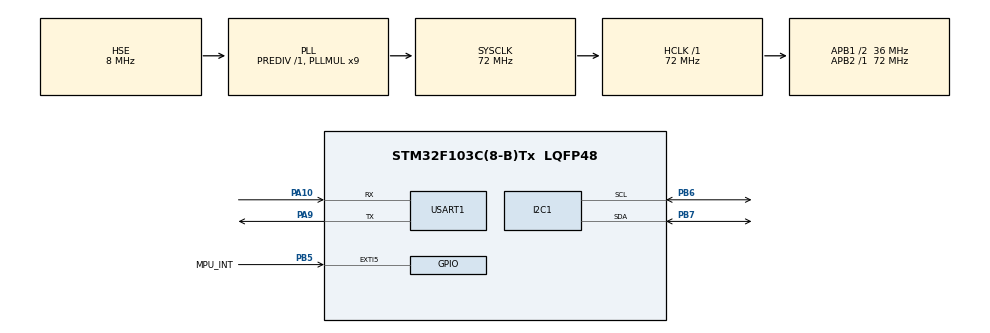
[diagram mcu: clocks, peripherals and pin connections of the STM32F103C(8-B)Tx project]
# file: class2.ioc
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Mcu.Family=STM32F1
Mcu.Name=STM32F103C(8-B)Tx
Mcu.Package=LQFP48
NVIC.EXTI9_5_IRQn=true\:0\:0\:false\:false\:true\:true\:true\:true
NVIC.PriorityGroup=NVIC_PRIORITYGROUP_4
PA10.Mode=Asynchronous
PA10.Signal=USART1_RX
PA13.Mode=Serial_Wire
PA13.Signal=SYS_JTMS-SWDIO
PA14.Mode=Serial_Wire
PA14.Signal=SYS_JTCK-SWCLK
PA9.Mode=Asynchronous
PA9.Signal=USART1_TX
PB5.GPIO_Label=MPU_INT
PB5.GPIO_ModeDefaultEXTI=GPIO_MODE_IT_RISING
PB5.GPIO_PuPd=GPIO_PULLDOWN
PB5.Signal=GPXTI5
PB6.Mode=I2C
PB6.Signal=I2C1_SCL
PB7.Mode=I2C
PB7.Signal=I2C1_SDA
PC14-OSC32_IN.Mode=LSE-External-Oscillator
PC14-OSC32_IN.Signal=RCC_OSC32_IN
PC15-OSC32_OUT.Mode=LSE-External-Oscillator
PC15-OSC32_OUT.Signal=RCC_OSC32_OUT
PD0-OSC_IN.Mode=HSE-External-Oscillator
PD0-OSC_IN.Signal=RCC_OSC_IN
PD1-OSC_OUT.Mode=HSE-External-Oscillator
PD1-OSC_OUT.Signal=RCC_OSC_OUT
ProjectManager.HeapSize=0x200
ProjectManager.StackSize=0x400
ProjectManager.TargetToolchain=MDK-ARM V5.32
RCC.AHBFreq_Value=72000000
RCC.APB1CLKDivider=RCC_HCLK_DIV2
RCC.APB1Freq_Value=36000000
RCC.APB1TimFreq_Value=72000000
RCC.APB2Freq_Value=72000000
RCC.APB2TimFreq_Value=72000000
RCC.HCLKFreq_Value=72000000
RCC.PLLMUL=RCC_PLL_MUL9
RCC.PLLSourceVirtual=RCC_PLLSOURCE_HSE
RCC.SYSCLKFreq_VALUE=72000000
RCC.SYSCLKSource=RCC_SYSCLKSOURCE_PLLCLK
RCC.USBFreq_Value=72000000
USART1.VirtualMode=VM_ASYNC
board=custom

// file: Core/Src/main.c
/* USER CODE BEGIN Header */
/**
  ******************************************************************************
  * @file           : main.c
  * @brief          : Main program body
  ******************************************************************************
  * @attention
  *
  * Copyright (c) 2026 STMicroelectronics.
  * All rights reserved.
  *
  * This software is licensed under terms that can be found in the LICENSE file
  * in the root directory of this software component.
  * If no LICENSE file comes with this software, it is provided AS-IS.
  *
  ******************************************************************************
  */
/* USER CODE END Header */
#include "main.h"
#include "i2c.h"
#include "usart.h"
#include "gpio.h"

/* USER CODE BEGIN Includes */
#include "MyMPU6050.h"
#include <stdio.h>
#include <math.h>
uint16_t print_cnt = 0;

int16_t acc_raw[3], gyro_raw[3], temp_raw;
float   acc[3], gyro[3], temp;
int16_t bias[3];
#define RAD_TO_DEG      57.2957795f     /* 180/π，弧度转角度 */
//下面是计算互补滤波的变量
#define COMP_ALPHA      0.98f       /* 互补滤波系数 */

static float    s_roll      = 0.0f;     /* 融合后的 roll */
static float    s_pitch     = 0.0f;     /* 融合后的 pitch */
static float    s_yaw       = 0.0f;     /* 融合后的 yaw */
static uint32_t s_last_tick = 0;        /* 上次积分时刻 */

static volatile uint32_t s_int_count = 0;

static volatile uint8_t  s_data_ready = 0;
static volatile uint32_t s_prev_tick  = 0;
static volatile uint32_t s_dt_min     = 9999;
static volatile uint32_t s_dt_max     = 0;
static volatile uint32_t s_dt_sum     = 0;
static volatile uint32_t s_dt_cnt     = 0;

int fputc(int ch, FILE *f)
{
    HAL_UART_Transmit(&huart1, (uint8_t *)&ch, 1, HAL_MAX_DELAY);
    return ch;
}
/* USER CODE END Includes */

void SystemClock_Config(void);

/* USER CODE BEGIN 0 */
//为了能输出数据给VOFA+,必须把浮点数转化为保留小数点后一位的数据
static void PrintFloat1(float v)
{
    int32_t n;
    if (v >= 0.0f)
    {
        n = (int32_t)(v * 10.0f + 0.5f);
    }
    else
    {
        n = (int32_t)(v * 10.0f - 0.5f);
    }
    if (n < 0)
    {
        printf("-");
        n = -n;
    }
    printf("%ld.%ld", n / 10, n % 10);
}

//用加速度求roll，pitch,静态时准确;动态时会受干扰
static void CalcAngleFromAccel(float ax, float ay, float az,
                               float *roll, float *pitch)
{
    *roll  = atan2f(ay, az) * RAD_TO_DEG;
    *pitch = atan2f(-ax, sqrtf(ay * ay + az * az)) * RAD_TO_DEG;
}

//角度=α×(角度+陀螺×Δt)+(1−α)×加速度角度
static void Attitude_Update(float ax, float ay, float az,
                            float gx, float gy, float gz)
{
    uint32_t now;
    float    dt;
    float    roll_acc, pitch_acc;

    now = HAL_GetTick();

	if (s_last_tick == 0)//第一次不能使用
    {
        s_last_tick = now;
        return;
    }

    dt = (float)(now - s_last_tick) / 1000.0f;
    s_last_tick = now;

    if (dt > 0.5f) { dt = 0.5f; }
    if (dt <= 0.0f) { return; }
    CalcAngleFromAccel(ax, ay, az, &roll_acc, &pitch_acc);
    s_roll  += gx * dt;
    s_pitch += gy * dt;
    s_yaw   += gz * dt;
    s_roll  = COMP_ALPHA * s_roll  + (1.0f - COMP_ALPHA) * roll_acc;
    s_pitch = COMP_ALPHA * s_pitch + (1.0f - COMP_ALPHA) * pitch_acc;
}

/* USER CODE END 0 */

int main(void)
{

  /* MCU Configuration--------------------------------------------------------*/

  /* Reset of all peripherals, Initializes the Flash interface and the Systick. */
  HAL_Init();

  /* Configure the system clock */
  SystemClock_Config();

  /* Initialize all configured peripherals */
  MX_GPIO_Init();
  MX_I2C1_Init();
  MX_USART1_UART_Init();
  /* USER CODE BEGIN 2 */
	printf("\r\n\r\n");
	printf("========================================\r\n");
	printf("  MPU6050 Test - Exam 2\r\n");
	printf("========================================\r\n");

	printf("ID = 0x%02X\r\n", MyMPU6050_GetID());

	if (MyMPU6050_Init() != 0)
	{
    printf("Init FAILED!\r\n");
    while (1) { }
	}

	printf("Init OK\r\n");

	MyMPU6050_EnableDataReadyInt();

	printf("Keep the board STILL, calibrating...\r\n");
	HAL_Delay(1000);

	MyMPU6050_CalibrateGyro(1000);
	MyMPU6050_GetGyroBias(bias);
	printf("GYRO BIAS = %d, %d, %d\r\n", bias[0], bias[1], bias[2]);

	printf("Roll(deg),Pitch(deg),Yaw(deg)\n");

	uint32_t loop_cnt = 0;
	uint32_t t_print;
	uint16_t print_cnt = 0;
	t_print = HAL_GetTick();

  /* USER CODE END 2 */

  /* Infinite loop */
  /* USER CODE BEGIN WHILE */
  while (1)
  {
	  if (s_data_ready != 0)
    {
        s_data_ready = 0;

        MyMPU6050_ReadPhysical(acc, gyro, &temp);
        Attitude_Update(acc[0], acc[1], acc[2], gyro[0], gyro[1], gyro[2]);

        print_cnt++;
        if (print_cnt >= 2)
        {
            print_cnt = 0;

            PrintFloat1(s_roll);   printf(",");
            PrintFloat1(s_pitch);  printf(",");
            PrintFloat1(s_yaw);    printf("\n");
        }
    }
    /* USER CODE END WHILE */

	}
}

void SystemClock_Config(void)
{
  RCC_OscInitTypeDef RCC_OscInitStruct = {0};
  RCC_ClkInitTypeDef RCC_ClkInitStruct = {0};

  /** Initializes the RCC Oscillators according to the specified parameters
  * in the RCC_OscInitTypeDef structure.
  */
  RCC_OscInitStruct.OscillatorType = RCC_OSCILLATORTYPE_HSE;
  RCC_OscInitStruct.HSEState = RCC_HSE_ON;
  RCC_OscInitStruct.HSEPredivValue = RCC_HSE_PREDIV_DIV1;
  RCC_OscInitStruct.HSIState = RCC_HSI_ON;
  RCC_OscInitStruct.PLL.PLLState = RCC_PLL_ON;
  RCC_OscInitStruct.PLL.PLLSource = RCC_PLLSOURCE_HSE;
  RCC_OscInitStruct.PLL.PLLMUL = RCC_PLL_MUL9;
  if (HAL_RCC_OscConfig(&RCC_OscInitStruct) != HAL_OK)
  {
    Error_Handler();
  }

  /** Initializes the CPU, AHB and APB buses clocks
  */
  RCC_ClkInitStruct.ClockType = RCC_CLOCKTYPE_HCLK|RCC_CLOCKTYPE_SYSCLK
                              |RCC_CLOCKTYPE_PCLK1|RCC_CLOCKTYPE_PCLK2;
  RCC_ClkInitStruct.SYSCLKSource = RCC_SYSCLKSOURCE_PLLCLK;
  RCC_ClkInitStruct.AHBCLKDivider = RCC_SYSCLK_DIV1;
  RCC_ClkInitStruct.APB1CLKDivider = RCC_HCLK_DIV2;
  RCC_ClkInitStruct.APB2CLKDivider = RCC_HCLK_DIV1;

  if (HAL_RCC_ClockConfig(&RCC_ClkInitStruct, FLASH_LATENCY_2) != HAL_OK)
  {
    Error_Handler();
  }
}

/* USER CODE BEGIN 4 */
void HAL_GPIO_EXTI_Callback(uint16_t GPIO_Pin)
{
    uint32_t now;
    uint32_t d;

    if (GPIO_Pin == MPU_INT_Pin)
    {
        now = HAL_GetTick();

        if (s_prev_tick != 0)
        {
            d = now - s_prev_tick;

            if (d < s_dt_min) { s_dt_min = d; }
            if (d > s_dt_max) { s_dt_max = d; }

            s_dt_sum += d;
            s_dt_cnt++;
        }
        s_prev_tick = now;

        s_data_ready = 1;
    }
}
/* USER CODE END 4 */

void Error_Handler(void)
{
  __disable_irq();
  while (1)
  {
  }
}
